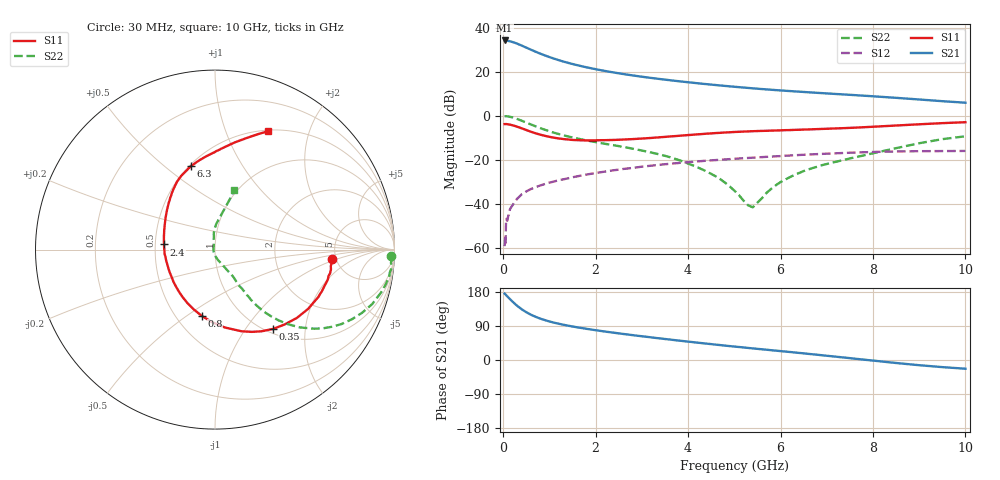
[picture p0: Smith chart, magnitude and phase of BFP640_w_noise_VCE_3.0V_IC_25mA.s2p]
! Infineon Technologies  Discrete & RF Semiconductors
! BFP640
! VCE =  3.0 V,  IC =  25 mA
! Common Emitter S-Parameters:  Apr 2013
# GHz  S  MA  R  50
!  f  S11  S21  S12  S22
! GHz  MAG  ANG  MAG  ANG  MAG  ANG  MAG  ANG
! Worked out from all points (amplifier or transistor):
!   99 points, 30 MHz to 10 GHz, reference 50 ohm
!   highest |S21| = 34.3 dB at 30 MHz (marker M1)
!   |S21| within 3 dB of that: start of sweep to 471.2 MHz
!   unconditionally stable (mu >= 1): 2.461 GHz to end of sweep
!   at 350 MHz: K = 0.32, MSG = 34.5 dB, |S12| = -36.7 dB
!   at 3.5 GHz: K = 1.04, MAG = 17.9 dB, |S12| = -21.9 dB
!   at 10 GHz: K = 1.07, MAG = 9.4 dB, |S12| = -15.9 dB
!   lowest NFmin = 0.95 dB at 450 MHz
!   S11 on the Smith chart (normalised r, x): 30 MHz: 4.62, -0.85; 350 MHz: 1.07, -1.36; 800 MHz: 0.67, -0.57; 2.4 GHz: 0.56, +0.03; 6.3 GHz: 0.51, +0.62; 10 GHz: 0.51, +1.41
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0.03  0.654 -4.6  51.98 175.2  0.0011 122.9  0.9819 -2.1
0.06  0.6552 -9.6  51.82 171.4  0.0036 106.2  0.9879 -5.2
0.12  0.6408 -19.8  50.51 163.8  0.0056 81.3  0.9704 -11.6
0.2  0.6152 -32.4  47.94 154.2  0.0093 75.8  0.9271 -19.1
0.3  0.5696 -47.1  44.04 143.2  0.0131 72.5  0.8554 -27.0
0.35  0.548 -53.7  41.81 138.5  0.0147 70.0  0.8177 -30.5
0.4  0.5236 -60.4  39.79 133.9  0.0166 67.6  0.7794 -33.5
0.45  0.5017 -66.0  37.62 129.9  0.0178 66.5  0.7432 -36.2
0.6  0.4375 -82.8  32.05 119.5  0.0219 63.2  0.6402 -42.6
0.7  0.4044 -92.3  28.85 114.0  0.024 62.0  0.5819 -45.6
0.8  0.3766 -101.3  26.11 109.3  0.0263 60.9  0.5313 -48.0
1  0.3354 -117.2  21.77 101.7  0.0306 59.6  0.4491 -51.4
1.2  0.3086 -130.7  18.55 95.7  0.0347 58.2  0.3889 -53.3
1.7  0.2797 -158.2  13.47 84.3  0.0446 56.1  0.2926 -54.9
2.4  0.2854 174.2  9.699 71.9  0.0586 51.9  0.2152 -56.3
3.4  0.3289 146.7  6.888 56.9  0.078 44.5  0.1319 -59.5
5.1  0.4369 118.2  4.516 34.3  0.1079 30.2  0.0159 -115.2
5.4  0.4507 114.9  4.248 30.6  0.1128 27.8  0.0084 172.7
6.3  0.4832 106.2  3.623 19.9  0.128 20.2  0.0457 98.7
6.7  0.4989 101.7  3.406 15.0  0.1344 16.5  0.0658 95.8
8.5  0.6069 79.6  2.583 -7.9  0.156 -1.4  0.1856 81.1
10  0.7213 66.0  2.001 -23.0  0.1604 -13.4  0.3457 72.5
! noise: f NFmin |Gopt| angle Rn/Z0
0.45  0.95  0.16  -171  0.01
0.9  0.96  0.18  -158  0.02
1.5  0.98  0.19  -144  0.04
1.9  1  0.21  -136  0.05
2.4  1.03  0.24  -121  0.06
3.5  1.15  0.26  -104  0.1
5.5  1.35  0.29  -94  0.17
10  1.83  0.59  -53  0.52
